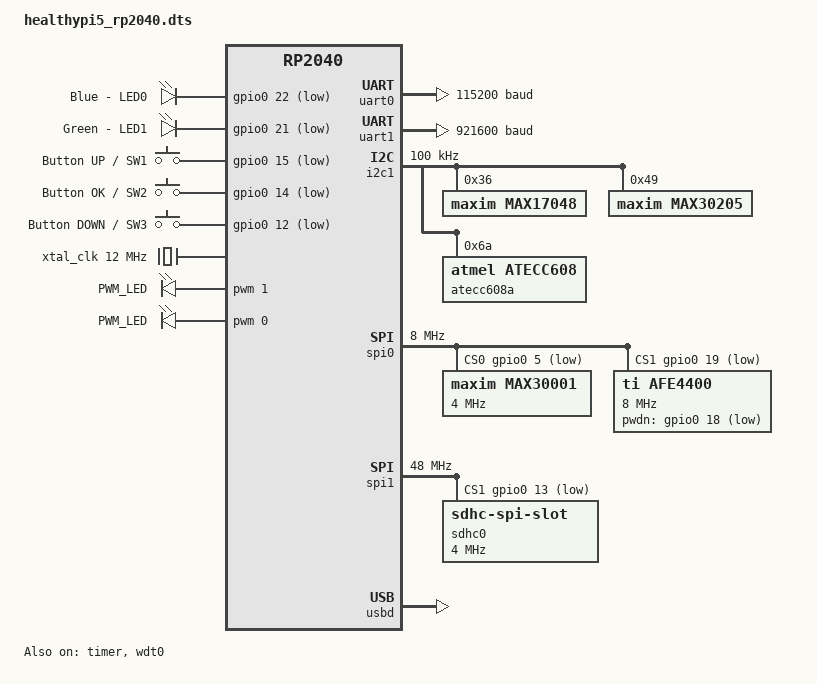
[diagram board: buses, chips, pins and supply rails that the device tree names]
// ProtoCentral Electronics (info@protocentral.com)
// SPDX-License-Identifier: Apache-2.0

/dts-v1/;

#include <freq.h>

#include <rpi_pico/rp2040.dtsi>
#include "healthypi5_rp2040-pinctrl.dtsi"
#include <zephyr/dt-bindings/pwm/pwm.h>

#include <zephyr/dt-bindings/i2c/i2c.h>
#include <zephyr/dt-bindings/input/input-event-codes.h>

/ {
	chosen {
		zephyr,sram = &sram0;
		zephyr,flash = &flash0;
		zephyr,flash-controller = &ssi;
		zephyr,console = &uart0;
		zephyr,shell-uart = &uart0; //&cdc_acm_uart0;
		zephyr,code-partition = &code_partition;
		zephyr,bt-uart = &uart1;
	};

	leds {
		compatible = "gpio-leds";

		blue_led: led_0 {
			gpios = <&gpio0 22 GPIO_ACTIVE_LOW>;
			label = "Blue - LED0";

		};

		green_led: led_1 {
			gpios = <&gpio0 21 GPIO_ACTIVE_LOW>;
			label = "Green - LED1";
		};

	};

	gpio_keys {
		compatible = "gpio-keys";
		label = "buttons";
		button_up: sw1 {
			label = "Button UP / SW1";
			gpios = <&gpio0 15 GPIO_ACTIVE_LOW>;
			zephyr,code = <INPUT_KEY_UP>;
		};
		button_ok: sw2 {
			label = "Button OK / SW2";
			gpios = <&gpio0 14 GPIO_ACTIVE_LOW>;
			zephyr,code = <INPUT_KEY_ENTER>;
		};
		button_down: sw3 {
			label = "Button DOWN / SW3";
			gpios = <&gpio0 12 GPIO_ACTIVE_LOW>;
			zephyr,code = <INPUT_KEY_DOWN>;
		};
	};

	xtal_clk: xtal-clk {
		compatible = "fixed-clock";
		clock-frequency = <12000000>;
		#clock-cells = <0>;
	};

	pwm_leds {
		compatible = "pwm-leds";
		status = "okay";

		pwm_led0: pwm_led_0 {
			pwms = <&pwm 1 PWM_MSEC(20) PWM_POLARITY_NORMAL>;
			label = "PWM_LED";
		};

		bl_led_pwm: pwm_ledbl {
			pwms = <&pwm 0 PWM_USEC(10) PWM_POLARITY_NORMAL>;
			label = "PWM_LED";
		};
	};

	aliases {
		ledblue = &blue_led;
		ledgreen = &green_led;
		bl-led-pwm = &bl_led_pwm;

		keyup = &button_up;
		keydown = &button_down;
		keyok = &button_ok;

		watchdog0 = &wdt0;
		pwm-led0 = &pwm_led0;

		max30001 = &max30001;
		afe4400 = &afe4400;
	};
};

&flash0 {
	reg = <0x10000000 DT_SIZE_M(8)>;

	partitions {
		compatible = "fixed-partitions";
		#address-cells = <1>;
		#size-cells = <1>;

		/* Reserved memory for the second stage bootloader */
		second_stage_bootloader: partition@0 {
			label = "second_stage_bootloader";
			reg = <0x00000000 0x100>;
			read-only;
		};

		/*
		 * Usable flash. Starts at 0x100, after the bootloader. The partition
		 * size is 2MB minus the 0x100 bytes taken by the bootloader.
		 */

		code_partition: partition@100 {
			label = "code-partition";
			reg = <0x100 0x00100000>;
			//reg = <0x100 (DT_SIZE_M(2) - 0x100)>;
			read-only;
		};

		storage_partition: partition@219000 {
			label = "storage";
			reg = <0x219000 0x5E6000>;    // 5.898 MB - rounded off to nearest multiple of 4096 (1510) and 537
		};
	};
};

&uart0 {
	current-speed = <115200>;
	status = "okay";
	pinctrl-0 = <&uart0_default>;
	pinctrl-names = "default";
};

&uart1 {
	current-speed = <921600>;
	status = "okay";
	pinctrl-0 = <&uart1_default>;
	pinctrl-names = "default";
	hw-flow-control;
};

&gpio0 {
	status = "okay";
};

&i2c0 {
	clock-frequency = <I2C_BITRATE_STANDARD>;
	status = "disabled";
};

&i2c1 {
	clock-frequency = <I2C_BITRATE_STANDARD>;
	status = "okay";
	pinctrl-0 = <&i2c1_default>;
	pinctrl-names = "default";

	max17048: max17048@36 {
		compatible = "maxim,max17048";
		status = "ok";
		reg = <0x36>;
	};

	max30205: max30205@49 {
		compatible = "maxim,max30205";
		status = "ok";
		reg = <0x49>;
	};

	atecc608a: atecc608a@6a {
		compatible = "atmel,atecc608";
		reg = <0x6a>;
	};
};

&timer {
	status = "okay";
};

&clocks {
	pinctrl-0 = <&clocks_default>;
	pinctrl-names = "default";
};

&spi0 {
	clock-frequency = <DT_FREQ_M(8)>;
	status = "okay";
	pinctrl-0 = <&spi0_default>;
	pinctrl-names = "default";
	cs-gpios = <&gpio0 5 GPIO_ACTIVE_LOW>, <&gpio0 19 GPIO_ACTIVE_LOW>;

	max30001: max30001@0 {
		compatible = "maxim,max30001";
		status = "okay";
		reg = <0x0>;
		spi-max-frequency = <DT_FREQ_M(4)>;
		//intb-gpios = <&gpio1 9 GPIO_ACTIVE_LOW>;
		rtor-enabled;
		ecg-enabled;
		bioz-enabled;

		bioz_cgmag = <4>;
		ecg-gain = <2>;
		bioz-gain = <2>;
		//ecg-invert;

		//ecg-dcloff-enable;
		//ecg-dcloff-current = <1>; // 5 nA

	};

	afe4400: afe4400@1 {
		compatible = "ti,afe4400";
		pwdn-gpios = <&gpio0 18 GPIO_ACTIVE_LOW>;
		reg = <0x1>;
		spi-max-frequency = <DT_FREQ_M(8)>;
		status = "okay";
	};
};

&spi1 {
	clock-frequency = <DT_FREQ_M(48)>;
	status = "okay";
	pinctrl-0 = <&spi1_default>;
	pinctrl-names = "default";

	status = "okay";
	cs-gpios = <&gpio0 29 GPIO_ACTIVE_LOW>, <&gpio0 13 GPIO_ACTIVE_LOW>;    //CS Reg 0 - Display, CS Reg 1 - SD Slot

	sdhc0: sdhc@1 {
		compatible = "zephyr,sdhc-spi-slot";
		reg = <1>;
		status = "okay";
		power-delay-ms = <5>;
		spi-max-frequency = <DT_FREQ_M(4)>;
		mmc {
			compatible = "zephyr,sdmmc-disk";
			status = "okay";
		};
	};
};

&wdt0 {
	status = "okay";
};

&adc {
	status = "disabled";

};

zephyr_udc0: &usbd {
	status = "okay";
};

&zephyr_udc0 {
	cdc_acm_uart0: cdc_acm_uart0 {
		compatible = "zephyr,cdc-acm-uart";
	};
};

/*&pwm {
	pinctrl-0 = <&pwm_ch1b_default>;
	pinctrl-names = "default";
	divider-int-0 = <255>;
};*/

&vreg {
	regulator-always-on;
	regulator-allowed-modes = <REGULATOR_RPI_PICO_MODE_NORMAL>;
};
